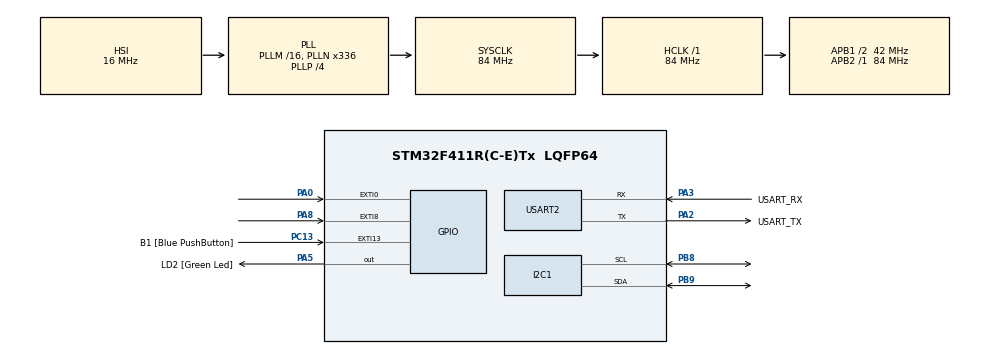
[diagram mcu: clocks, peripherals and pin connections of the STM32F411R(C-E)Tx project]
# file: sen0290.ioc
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Mcu.Family=STM32F4
Mcu.Name=STM32F411R(C-E)Tx
Mcu.Package=LQFP64
NVIC.EXTI0_IRQn=true\:0\:0\:false\:false\:true\:true\:true\:true
NVIC.EXTI15_10_IRQn=true\:0\:0\:false\:false\:true\:true\:true\:true
NVIC.EXTI9_5_IRQn=true\:0\:0\:false\:false\:true\:true\:true\:true
NVIC.PriorityGroup=NVIC_PRIORITYGROUP_0
PA0-WKUP.Signal=GPXTI0
PA13.GPIO_Label=TMS
PA13.Mode=Serial_Wire
PA13.Signal=SYS_JTMS-SWDIO
PA14.GPIO_Label=TCK
PA14.Mode=Serial_Wire
PA14.Signal=SYS_JTCK-SWCLK
PA2.GPIO_Label=USART_TX
PA2.Mode=Asynchronous
PA2.Signal=USART2_TX
PA3.GPIO_Label=USART_RX
PA3.Mode=Asynchronous
PA3.Signal=USART2_RX
PA5.GPIO_Label=LD2 [Green Led]
PA5.GPIO_PuPd=GPIO_NOPULL
PA5.PinState=GPIO_PIN_RESET
PA5.Signal=GPIO_Output
PA8.GPIO_PuPd=GPIO_NOPULL
PA8.Signal=GPXTI8
PB3.GPIO_Label=SWO
PB3.Signal=SYS_JTDO-SWO
PB8.Mode=I2C
PB8.Signal=I2C1_SCL
PB9.Mode=I2C
PB9.Signal=I2C1_SDA
PC13-ANTI_TAMP.GPIO_Label=B1 [Blue PushButton]
PC13-ANTI_TAMP.GPIO_ModeDefaultEXTI=GPIO_MODE_IT_FALLING
PC13-ANTI_TAMP.Signal=GPXTI13
PC14-OSC32_IN.Mode=LSE-External-Oscillator
PC14-OSC32_IN.Signal=RCC_OSC32_IN
PC15-OSC32_OUT.Mode=LSE-External-Oscillator
PC15-OSC32_OUT.Signal=RCC_OSC32_OUT
PH0\ -\ OSC_IN.Mode=HSE-External-Clock-Source
PH0\ -\ OSC_IN.Signal=RCC_OSC_IN
PH1\ -\ OSC_OUT.Mode=HSE-External-Clock-Source
PH1\ -\ OSC_OUT.Signal=RCC_OSC_OUT
ProjectManager.HeapSize=0x200
ProjectManager.StackSize=0x400
ProjectManager.TargetToolchain=STM32CubeIDE
RCC.48MHZClocksFreq_Value=84000000
RCC.AHBFreq_Value=84000000
RCC.APB1CLKDivider=RCC_HCLK_DIV2
RCC.APB1Freq_Value=42000000
RCC.APB1TimFreq_Value=84000000
RCC.APB2Freq_Value=84000000
RCC.APB2TimFreq_Value=84000000
RCC.CortexFreq_Value=84000000
RCC.FLatency-AdvancedSettings=FLASH_LATENCY_2
RCC.HCLKFreq_Value=84000000
RCC.HSE_VALUE=8000000
RCC.HSI_VALUE=16000000
RCC.PLLN=336
RCC.PLLP=RCC_PLLP_DIV4
RCC.SYSCLKFreq_VALUE=84000000
RCC.SYSCLKSource=RCC_SYSCLKSOURCE_PLLCLK
RCC.VCOOutputFreq_Value=336000000
USART2.VirtualMode=VM_ASYNC
board=NUCLEO-F411RE

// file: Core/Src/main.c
/* USER CODE BEGIN Header */
/**
  ******************************************************************************
  * @file           : main.c
  * @brief          : Main program body
  ******************************************************************************
  * @attention
  *
  * Copyright (c) 2025 STMicroelectronics.
  * All rights reserved.
  *
  * This software is licensed under terms that can be found in the LICENSE file
  * in the root directory of this software component.
  * If no LICENSE file comes with this software, it is provided AS-IS.
  *
  ******************************************************************************
  */
/* USER CODE END Header */
#include "main.h"

/* USER CODE BEGIN Includes */
#include "SEN0290.h"
#include <stdio.h>
#include <string.h>
/* USER CODE END Includes */

I2C_HandleTypeDef hi2c1;

UART_HandleTypeDef huart2;

/* USER CODE BEGIN PV */
uint8_t Blue_Button = 0;
/* USER CODE END PV */

void SystemClock_Config(void);
static void MX_GPIO_Init(void);
static void MX_USART2_UART_Init(void);
static void MX_I2C1_Init(void);

/* USER CODE BEGIN 0 */
SEN0290_t SEN0290;
/* USER CODE END 0 */

int main(void)
{

  /* USER CODE BEGIN 1 */
	uint8_t ret_val;
	uint8_t buf[40];
  /* USER CODE END 1 */

  /* MCU Configuration--------------------------------------------------------*/

  /* Reset of all peripherals, Initializes the Flash interface and the Systick. */
  HAL_Init();

  /* Configure the system clock */
  SystemClock_Config();

  /* Initialize all configured peripherals */
  MX_GPIO_Init();
  MX_USART2_UART_Init();
  MX_I2C1_Init();
  /* USER CODE BEGIN 2 */
  Assign_SEN0290_I2C_Handler(&hi2c1);
  Assign_SEN0290_UART_Handler(&huart2);
  Wait_SEN0290_Until_Ready();
  ret_val = Register_Default_Command();

  /* USER CODE END 2 */

  /* Infinite loop */
  /* USER CODE BEGIN WHILE */
  int i=0;
  while (1)
  {

	  //strcpy((char *)buf, "Return Value:\r\n");
//	  sprintf((char *)buf, "Return Value: %d\r\n", ret_val);
//	  HAL_UART_Transmit(&huart2, buf, strlen((char *)buf), HAL_MAX_DELAY);
//	  HAL_Delay(1000);

//	  ret_val = Read_SEN0290_Distance_Register();
//	  sprintf((char *)buf, "Distance Value: %d\r\n", ret_val);
//	  HAL_UART_Transmit(&huart2, buf, strlen((char *)buf), HAL_MAX_DELAY);
//	  HAL_Delay(1000);

	  if (Blue_Button == 1)
	  {
		  HAL_GPIO_WritePin(LD2_GPIO_Port, LD2_Pin, 1);
		  HAL_Delay(100);

		  sprintf((char *)buf, "Index: %d\r\n", i);
		  HAL_UART_Transmit(&huart2, buf, strlen((char *)buf), HAL_MAX_DELAY);
		  HAL_Delay(100);

//
//		  HAL_UART_Transmit(&huart2, buf, strlen((char *)buf), HAL_MAX_DELAY);
//
		  HAL_Delay(100);
		  Interpret_SEN0290_Interrupt();
		  HAL_Delay(100);
		  ret_val = Read_SEN0290_Distance_Register();
		  sprintf((char *)buf, "Lightning Distance: %d kilometers\r\n\n", ret_val);
		  HAL_UART_Transmit(&huart2, buf, strlen((char *)buf), HAL_MAX_DELAY);
		  HAL_Delay(100);

		  HAL_GPIO_WritePin(LD2_GPIO_Port, LD2_Pin, 0);
		  Blue_Button =0;
		  i++;
	  }

    /* USER CODE END WHILE */

  }
}

void SystemClock_Config(void)
{
  RCC_OscInitTypeDef RCC_OscInitStruct = {0};
  RCC_ClkInitTypeDef RCC_ClkInitStruct = {0};

  /** Configure the main internal regulator output voltage
  */
  __HAL_RCC_PWR_CLK_ENABLE();
  __HAL_PWR_VOLTAGESCALING_CONFIG(PWR_REGULATOR_VOLTAGE_SCALE1);

  /** Initializes the RCC Oscillators according to the specified parameters
  * in the RCC_OscInitTypeDef structure.
  */
  RCC_OscInitStruct.OscillatorType = RCC_OSCILLATORTYPE_HSI;
  RCC_OscInitStruct.HSIState = RCC_HSI_ON;
  RCC_OscInitStruct.HSICalibrationValue = RCC_HSICALIBRATION_DEFAULT;
  RCC_OscInitStruct.PLL.PLLState = RCC_PLL_ON;
  RCC_OscInitStruct.PLL.PLLSource = RCC_PLLSOURCE_HSI;
  RCC_OscInitStruct.PLL.PLLM = 16;
  RCC_OscInitStruct.PLL.PLLN = 336;
  RCC_OscInitStruct.PLL.PLLP = RCC_PLLP_DIV4;
  RCC_OscInitStruct.PLL.PLLQ = 4;
  if (HAL_RCC_OscConfig(&RCC_OscInitStruct) != HAL_OK)
  {
    Error_Handler();
  }

  /** Initializes the CPU, AHB and APB buses clocks
  */
  RCC_ClkInitStruct.ClockType = RCC_CLOCKTYPE_HCLK|RCC_CLOCKTYPE_SYSCLK
                              |RCC_CLOCKTYPE_PCLK1|RCC_CLOCKTYPE_PCLK2;
  RCC_ClkInitStruct.SYSCLKSource = RCC_SYSCLKSOURCE_PLLCLK;
  RCC_ClkInitStruct.AHBCLKDivider = RCC_SYSCLK_DIV1;
  RCC_ClkInitStruct.APB1CLKDivider = RCC_HCLK_DIV2;
  RCC_ClkInitStruct.APB2CLKDivider = RCC_HCLK_DIV1;

  if (HAL_RCC_ClockConfig(&RCC_ClkInitStruct, FLASH_LATENCY_2) != HAL_OK)
  {
    Error_Handler();
  }
}

static void MX_I2C1_Init(void)
{

  hi2c1.Instance = I2C1;
  hi2c1.Init.ClockSpeed = 100000;
  hi2c1.Init.DutyCycle = I2C_DUTYCYCLE_2;
  hi2c1.Init.OwnAddress1 = 0;
  hi2c1.Init.AddressingMode = I2C_ADDRESSINGMODE_7BIT;
  hi2c1.Init.DualAddressMode = I2C_DUALADDRESS_DISABLE;
  hi2c1.Init.OwnAddress2 = 0;
  hi2c1.Init.GeneralCallMode = I2C_GENERALCALL_DISABLE;
  hi2c1.Init.NoStretchMode = I2C_NOSTRETCH_DISABLE;
  if (HAL_I2C_Init(&hi2c1) != HAL_OK)
  {
    Error_Handler();
  }

}

static void MX_USART2_UART_Init(void)
{

  huart2.Instance = USART2;
  huart2.Init.BaudRate = 115200;
  huart2.Init.WordLength = UART_WORDLENGTH_8B;
  huart2.Init.StopBits = UART_STOPBITS_1;
  huart2.Init.Parity = UART_PARITY_NONE;
  huart2.Init.Mode = UART_MODE_TX_RX;
  huart2.Init.HwFlowCtl = UART_HWCONTROL_NONE;
  huart2.Init.OverSampling = UART_OVERSAMPLING_16;
  if (HAL_UART_Init(&huart2) != HAL_OK)
  {
    Error_Handler();
  }

}

static void MX_GPIO_Init(void)
{
  GPIO_InitTypeDef GPIO_InitStruct = {0};

  /* GPIO Ports Clock Enable */
  __HAL_RCC_GPIOC_CLK_ENABLE();
  __HAL_RCC_GPIOH_CLK_ENABLE();
  __HAL_RCC_GPIOA_CLK_ENABLE();
  __HAL_RCC_GPIOB_CLK_ENABLE();

  /*Configure GPIO pin Output Level */
  HAL_GPIO_WritePin(LD2_GPIO_Port, LD2_Pin, GPIO_PIN_RESET);

  /*Configure GPIO pin : B1_Pin */
  GPIO_InitStruct.Pin = B1_Pin;
  GPIO_InitStruct.Mode = GPIO_MODE_IT_FALLING;
  GPIO_InitStruct.Pull = GPIO_NOPULL;
  HAL_GPIO_Init(B1_GPIO_Port, &GPIO_InitStruct);

  /*Configure GPIO pins : PA0 PA8 */
  GPIO_InitStruct.Pin = GPIO_PIN_0|GPIO_PIN_8;
  GPIO_InitStruct.Mode = GPIO_MODE_IT_RISING;
  GPIO_InitStruct.Pull = GPIO_NOPULL;
  HAL_GPIO_Init(GPIOA, &GPIO_InitStruct);

  /*Configure GPIO pin : LD2_Pin */
  GPIO_InitStruct.Pin = LD2_Pin;
  GPIO_InitStruct.Mode = GPIO_MODE_OUTPUT_PP;
  GPIO_InitStruct.Pull = GPIO_NOPULL;
  GPIO_InitStruct.Speed = GPIO_SPEED_FREQ_LOW;
  HAL_GPIO_Init(LD2_GPIO_Port, &GPIO_InitStruct);

  /* EXTI interrupt init*/
  HAL_NVIC_SetPriority(EXTI0_IRQn, 0, 0);
  HAL_NVIC_EnableIRQ(EXTI0_IRQn);

  HAL_NVIC_SetPriority(EXTI9_5_IRQn, 0, 0);
  HAL_NVIC_EnableIRQ(EXTI9_5_IRQn);

  HAL_NVIC_SetPriority(EXTI15_10_IRQn, 0, 0);
  HAL_NVIC_EnableIRQ(EXTI15_10_IRQn);

}

/* USER CODE BEGIN 4 */

void HAL_GPIO_EXTI_Callback(uint16_t GPIO_Pin)
{
  if(GPIO_Pin == GPIO_PIN_13)
  {
	  Blue_Button = 1;
  }
  else if(GPIO_Pin == GPIO_PIN_0)
  {
	  Blue_Button = 1;
  }
}

/* USER CODE END 4 */

void Error_Handler(void)
{
  __disable_irq();
  while (1)
  {
  }
}
